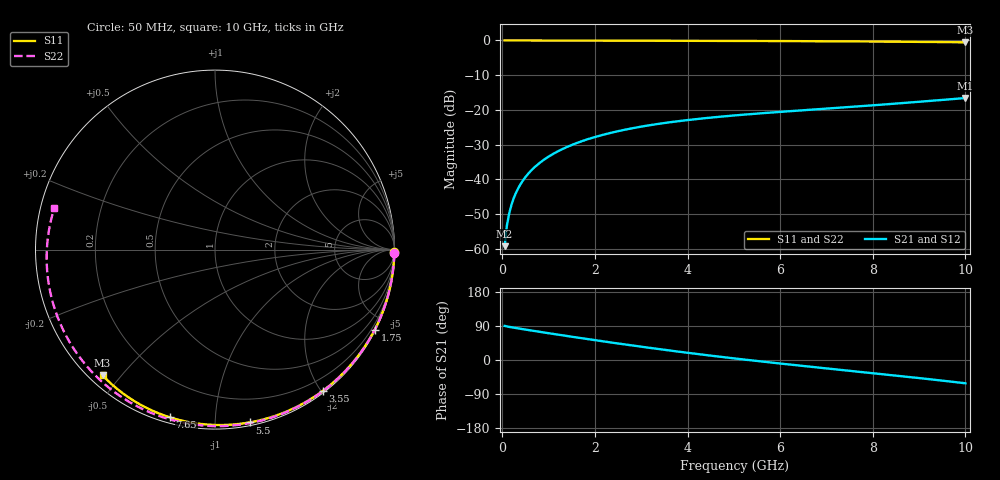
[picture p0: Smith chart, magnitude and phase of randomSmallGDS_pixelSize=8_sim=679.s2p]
! freq	dB(S11)	phase(S11)	dB(S12)	phase(S12)
!  dB(S21)	phase(S21)	dB(S22)	phase(S22)
!S-par simulation data
#  GHz  S  DB  R 50
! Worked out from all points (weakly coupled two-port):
!   200 points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, 50 MHz to 10 GHz, reference 50 ohm
!   highest |S21| = -16.59 dB at 10 GHz (marker M1); lowest = -59.2 dB at 50 MHz (marker M2)
!   lowest |S11| = -0.5 dB at 10 GHz (marker M3), VSWR 32.15, Z = 1.87 - j22.3 ohm
!   |S11| at or under -10 dB: nowhere
!   |S22| runs from -0.7 to 0.0 dB; largest |S21 - S12| = 0
!   S11 on the Smith chart (normalised r, x): 50 MHz: open; 1.75 GHz: 0.04, -4.23; 3.55 GHz: 0.03, -2.02; 5.5 GHz: 0.02, -1.22; 7.65 GHz: 0.03, -0.77; 10 GHz: 0.04, -0.45
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0.05  -0.01 -0.8  -59.25 90.0  -59.25 90.0  -0.00 -1.1
0.1  -0.01 -1.5  -53.26 88.5  -53.26 88.5  -0.01 -2.3
0.15  -0.01 -2.3  -49.75 87.4  -49.75 87.4  -0.01 -3.4
0.2  -0.01 -3.1  -47.26 86.3  -47.26 86.3  -0.01 -4.6
0.25  -0.01 -3.8  -45.33 85.3  -45.33 85.3  -0.01 -5.7
0.35  -0.01 -5.4  -42.42 83.2  -42.42 83.2  -0.01 -8.0
0.5  -0.01 -7.7  -39.35 80.3  -39.35 80.3  -0.02 -11.4
0.7  -0.01 -10.7  -36.47 76.4  -36.47 76.4  -0.02 -16.0
1  -0.02 -15.3  -33.46 70.7  -33.46 70.7  -0.03 -22.8
1.35  -0.03 -20.6  -30.97 64.2  -30.97 64.2  -0.04 -30.6
1.75  -0.04 -26.6  -28.87 56.9  -28.87 56.9  -0.06 -39.5
2.6  -0.06 -39.1  -25.84 41.9  -25.84 41.9  -0.08 -57.7
3.4  -0.08 -50.5  -23.97 28.5  -23.97 28.5  -0.11 -74.0
3.55  -0.09 -52.6  -23.69 26.1  -23.69 26.1  -0.12 -77.0
4.3  -0.11 -62.9  -22.49 14.5  -22.49 14.5  -0.15 -91.6
5.05  -0.14 -72.9  -21.56 3.6  -21.56 3.6  -0.19 -105.6
5.5  -0.16 -78.7  -21.07 -2.6  -21.07 -2.6  -0.21 -113.7
6.7  -0.22 -93.7  -19.92 -18.4  -19.92 -18.4  -0.29 -134.9
7.65  -0.28 -105.0  -19.03 -30.3  -19.03 -30.3  -0.38 -151.4
8.35  -0.35 -113.2  -18.34 -39.1  -18.34 -39.1  -0.45 -163.8
9.2  -0.44 -122.8  -17.45 -50.3  -17.45 -50.3  -0.56 -179.2
10  -0.54 -131.8  -16.59 -61.4  -16.59 -61.4  -0.68 165.4
